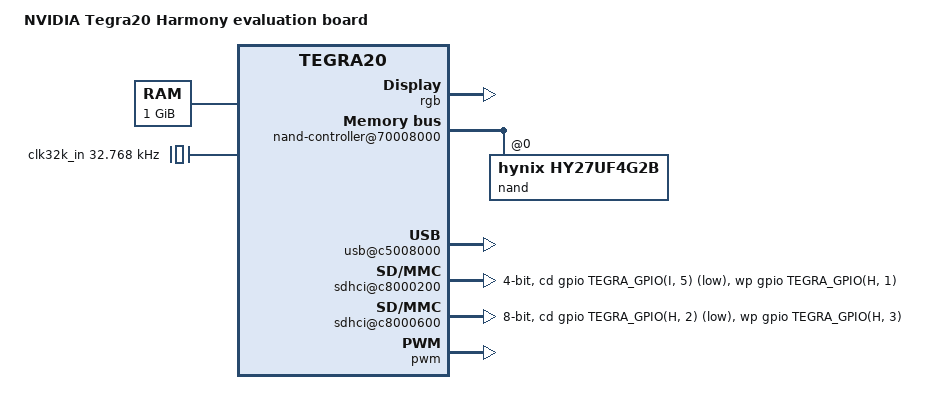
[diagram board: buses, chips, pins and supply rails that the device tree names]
/dts-v1/;

#include "tegra20.dtsi"

/ {
	model = "NVIDIA Tegra20 Harmony evaluation board";
	compatible = "nvidia,harmony", "nvidia,tegra20";

	chosen {
		stdout-path = &uartd;
	};

	aliases {
		usb0 = "/usb@c5008000";
		usb1 = "/usb@c5004000";
		sdhci0 = "/sdhci@c8000600";
		sdhci1 = "/sdhci@c8000200";
	};

	memory {
		reg = <0x00000000 0x40000000>;
	};

	host1x@50000000 {
		status = "okay";
		dc@54200000 {
			status = "okay";
			rgb {
				status = "okay";
				nvidia,panel = <&lcd_panel>;
			};
		};
	};

	serial@70006300 {
		clock-frequency = < 216000000 >;
	};

	nand-controller@70008000 {
		nvidia,wp-gpios = <&gpio TEGRA_GPIO(C, 7) GPIO_ACTIVE_HIGH>;
		nvidia,width = <8>;
		nvidia,timing = <26 100 20 80 20 10 12 10 70>;
		nand@0 {
			reg = <0>;
			compatible = "hynix,hy27uf4g2b", "nand-flash";
		};
	};

	usb@c5004000 {
		statuc = "okay";
		nvidia,phy-reset-gpio = <&gpio TEGRA_GPIO(V, 1) 0>;
	};

	usb@c5008000 {
		status = "okay";
	};

	sdhci@c8000200 {
		status = "okay";
		cd-gpios = <&gpio TEGRA_GPIO(I, 5) GPIO_ACTIVE_LOW>;
		wp-gpios = <&gpio TEGRA_GPIO(H, 1) GPIO_ACTIVE_HIGH>;
		power-gpios = <&gpio TEGRA_GPIO(T, 3) GPIO_ACTIVE_HIGH>;
		bus-width = <4>;
	};

	sdhci@c8000600 {
		status = "okay";
		cd-gpios = <&gpio TEGRA_GPIO(H, 2) GPIO_ACTIVE_LOW>;
		wp-gpios = <&gpio TEGRA_GPIO(H, 3) GPIO_ACTIVE_HIGH>;
		power-gpios = <&gpio TEGRA_GPIO(I, 6) GPIO_ACTIVE_HIGH>;
		bus-width = <8>;
	};

	clocks {
		compatible = "simple-bus";
		#address-cells = <1>;
		#size-cells = <0>;

		clk32k_in: clock@0 {
			compatible = "fixed-clock";
			reg=<0>;
			#clock-cells = <0>;
			clock-frequency = <32768>;
		};
	};

	pwm: pwm@7000a000 {
		status = "okay";
	};

	lcd_panel: panel {
		clock = <42430000>;
		xres = <1024>;
		yres = <600>;
		left-margin = <138>;
		right-margin = <34>;
		hsync-len = <136>;
		lower-margin = <4>;
		upper-margin = <21>;
		vsync-len = <4>;
		hsync-active-high;
		vsyncx-active-high;
		nvidia,bits-per-pixel = <16>;
		nvidia,pwm = <&pwm 0 0>;
		nvidia,backlight-enable-gpios = <&gpio TEGRA_GPIO(B, 5)
							GPIO_ACTIVE_HIGH>;
		nvidia,lvds-shutdown-gpios = <&gpio TEGRA_GPIO(B, 2)
							GPIO_ACTIVE_HIGH>;
		nvidia,backlight-vdd-gpios = <&gpio TEGRA_GPIO(W, 0)
							GPIO_ACTIVE_HIGH>;
		nvidia,panel-vdd-gpios = <&gpio TEGRA_GPIO(C, 6)
							GPIO_ACTIVE_HIGH>;
		nvidia,panel-timings = <0 0 200 0 0>;
	};
};
